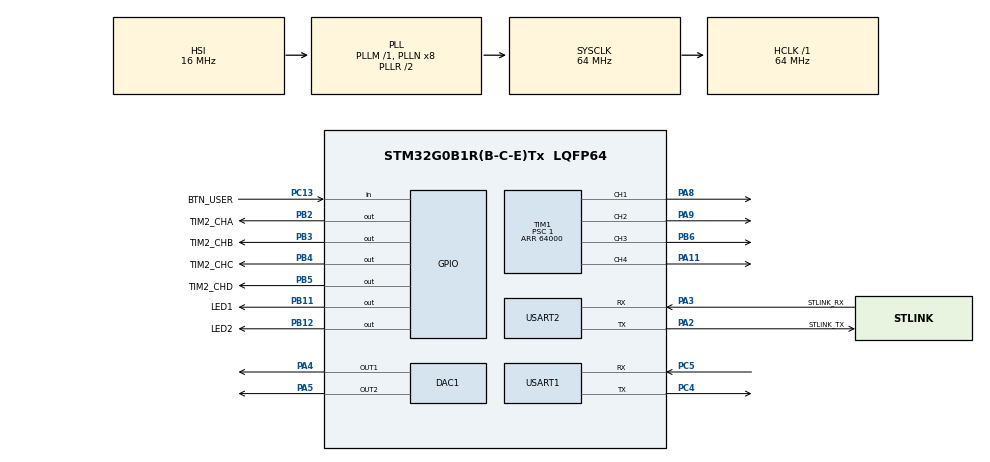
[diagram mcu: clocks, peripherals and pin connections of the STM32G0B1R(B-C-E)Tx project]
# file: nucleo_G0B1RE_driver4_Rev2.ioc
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DAC1.DAC_Channel-DAC_OUT1=DAC_CHANNEL_1
DAC1.DAC_Channel-DAC_OUT2=DAC_CHANNEL_2
Mcu.Family=STM32G0
Mcu.Name=STM32G0B1R(B-C-E)Tx
Mcu.Package=LQFP64
NVIC.TIM1_CC_IRQn=true\:0\:0\:false\:false\:true\:true\:false\:true
NVIC.TIM2_IRQn=true\:0\:0\:false\:false\:true\:true\:false\:true
PA11\ [PA9].Signal=S_TIM1_CH4
PA13.GPIO_Label=TMS
PA13.Mode=Serial_Wire
PA13.Signal=SYS_SWDIO
PA14-BOOT0.GPIO_Label=TCK
PA14-BOOT0.Mode=Serial_Wire
PA14-BOOT0.Signal=SYS_SWCLK
PA2.GPIO_Label=STLINK_TX
PA2.Mode=Asynchronous
PA2.Signal=USART2_TX
PA3.GPIO_Label=STLINK_RX
PA3.Mode=Asynchronous
PA3.Signal=USART2_RX
PA4.Signal=COMP_DAC11_group
PA5.Signal=COMP_DAC12_group
PA8.Signal=S_TIM1_CH1
PA9.Signal=S_TIM1_CH2
PB11.GPIO_Label=LED1
PB11.Signal=GPIO_Output
PB12.GPIO_Label=LED2
PB12.Signal=GPIO_Output
PB2.GPIO_Label=TIM2_CHA
PB2.Signal=GPIO_Output
PB3.GPIO_Label=TIM2_CHB
PB3.Signal=GPIO_Output
PB4.GPIO_Label=TIM2_CHC
PB4.Signal=GPIO_Output
PB5.GPIO_Label=TIM2_CHD
PB5.Signal=GPIO_Output
PB6.Signal=S_TIM1_CH3
PC13.GPIO_Label=BTN_USER
PC13.Signal=GPIO_Input
PC14-OSC32_IN\ (PC14).Mode=LSE-External-Oscillator
PC14-OSC32_IN\ (PC14).Signal=RCC_OSC32_IN
PC15-OSC32_OUT\ (PC15).Mode=LSE-External-Oscillator
PC15-OSC32_OUT\ (PC15).Signal=RCC_OSC32_OUT
PC4.Mode=Asynchronous
PC4.Signal=USART1_TX
PC5.Mode=Asynchronous
PC5.Signal=USART1_RX
PF0-OSC_IN\ (PF0).GPIO_Label=MCO_IN
PF0-OSC_IN\ (PF0).Mode=HSE-External-Clock-Source
PF0-OSC_IN\ (PF0).Signal=RCC_OSC_IN
ProjectManager.HeapSize=0x200
ProjectManager.StackSize=0x400
ProjectManager.TargetToolchain=STM32CubeIDE
RCC.ADCFreq_Value=64000000
RCC.AHBFreq_Value=64000000
RCC.CortexFreq_Value=64000000
RCC.EXTERNAL_CLOCK_VALUE=12288000
RCC.HCLKFreq_Value=64000000
RCC.HSE_VALUE=8000000
RCC.HSI48_VALUE=48000000
RCC.HSI_VALUE=16000000
RCC.RCC_MCO2Div=RCC_MCO2DIV_64
RCC.SYSCLKFreq_VALUE=64000000
RCC.SYSCLKSource=RCC_SYSCLKSOURCE_PLLCLK
RCC.USBFreq_Value=48000000
RCC.VCOOutputFreq_Value=128000000
SH.COMP_DAC11_group.0=DAC1_OUT1,DAC_OUT1
SH.COMP_DAC12_group.0=DAC1_OUT2,DAC_OUT2
SH.S_TIM1_CH1.0=TIM1_CH1,Output Compare1 CH1
SH.S_TIM1_CH2.0=TIM1_CH2,Output Compare2 CH2
SH.S_TIM1_CH3.0=TIM1_CH3,Output Compare3 CH3
SH.S_TIM1_CH4.0=TIM1_CH4,Output Compare4 CH4
TIM1.Channel-Output\ Compare1\ CH1=TIM_CHANNEL_1
TIM1.Channel-Output\ Compare2\ CH2=TIM_CHANNEL_2
TIM1.Channel-Output\ Compare3\ CH3=TIM_CHANNEL_3
TIM1.Channel-Output\ Compare4\ CH4=TIM_CHANNEL_4
TIM1.OCMode_1=TIM_OCMODE_TOGGLE
TIM1.OCMode_2=TIM_OCMODE_TOGGLE
TIM1.OCMode_3=TIM_OCMODE_TOGGLE
TIM1.OCMode_4=TIM_OCMODE_TOGGLE
TIM1.OffStateIDLEMode=TIM_OSSI_ENABLE
TIM1.OffStateRunMode=TIM_OSSR_ENABLE
TIM1.Period=64000
TIM1.Prescaler=1
TIM1.Pulse-Output\ Compare1\ CH1=0
TIM1.Pulse-Output\ Compare2\ CH2=8000
TIM1.Pulse-Output\ Compare3\ CH3=16000
TIM1.Pulse-Output\ Compare4\ CH4=24000
TIM2.Period=64000
TIM2.Prescaler=1
USART1.VirtualMode-Asynchronous=VM_ASYNC
USART2.VirtualMode-Asynchronous=VM_ASYNC
VP_SYS_VS_DBSignals.Mode=DisableDeadBatterySignals
VP_TIM1_VS_ClockSourceINT.Mode=Internal
VP_TIM2_VS_ClockSourceINT.Mode=Internal
board=NUCLEO-G0B1RE

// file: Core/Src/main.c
/* USER CODE BEGIN Header */
/**
  ******************************************************************************
  * @file           : main.c
  * @brief          : Main program body
  ******************************************************************************
  * @attention
  *
  * Copyright (c) 2024 STMicroelectronics.
  * All rights reserved.
  *
  * This software is licensed under terms that can be found in the LICENSE file
  * in the root directory of this software component.
  * If no LICENSE file comes with this software, it is provided AS-IS.
  *
  ******************************************************************************
  */
/* USER CODE END Header */
#include "main.h"
#include "dac.h"
#include "tim.h"
#include "usart.h"
#include "gpio.h"

/* USER CODE BEGIN Includes */
#include <stdio.h>
#include "timer.h"

/* USER CODE END Includes */

/* USER CODE BEGIN PV */

volatile uint32_t polarity_fault = 0;
volatile uint32_t tim1_running = 0;

/* USER CODE END PV */

void SystemClock_Config(void);

int main(void)
{

  /* MCU Configuration--------------------------------------------------------*/

  /* Reset of all peripherals, Initializes the Flash interface and the Systick. */
  HAL_Init();

  /* Configure the system clock */
  SystemClock_Config();

  /* Initialize all configured peripherals */
  MX_GPIO_Init();
  MX_USART2_UART_Init();
  MX_TIM1_Init();
  MX_DAC1_Init();
  MX_TIM2_Init();
  MX_USART1_UART_Init();
  /* USER CODE BEGIN 2 */

  printf("\r\n\r\n** Booted **\r\n");
  printf("Build: " __DATE__ ", " __TIME__ "\r\n");

  /* Start TIM1 */
  printf("Starting TIM1\r\n");
  TIM1_Init();

  HAL_DAC_Start(&hdac1, DAC_CHANNEL_1);

  uint32_t dac = 0;
  HAL_DAC_SetValue(&hdac1, DAC_CHANNEL_1, DAC_ALIGN_12B_R, dac);

  // DAC Step Size = 200 mA per button push
  //      (200 mA * .501 ohms) / 3.3V * 4095 = 124 LSBs
  const uint32_t DAC1_step_size = 124;
  const uint32_t DAC1_max_value = (DAC1_step_size * 5);
  printf("DAC Step Size: %2ld\r\n", DAC1_step_size);
  printf("DAC Max Value: %2ld\r\n", DAC1_max_value);
  printf("\r\n");

  /* USER CODE END 2 */

  /* Infinite loop */
  /* USER CODE BEGIN WHILE */

  while (1)
  {
	  /* light LED if faulted */
	  if (polarity_fault)
	  {
		  HAL_GPIO_WritePin(LED1_GPIO_Port, LED1_Pin, GPIO_PIN_SET);
	  }

	  /* verify TIM1 is running */
	  tim1_running = 0;
	  HAL_Delay(3);
	  if (tim1_running == 0)
	  {
	      /* light LED if not running */
	      HAL_GPIO_WritePin(LED1_GPIO_Port, LED1_Pin, GPIO_PIN_SET);
	  }

	  /* if user button pressed */
	  uint32_t btn = HAL_GPIO_ReadPin(BTN_USER_GPIO_Port, BTN_USER_Pin);
	  if (btn == 0)
	  {
		  printf("button pressed\r\n");
		  dac = dac + DAC1_step_size;
		  if (dac > DAC1_max_value) dac = 0;
		  HAL_DAC_SetValue(&hdac1, DAC_CHANNEL_1, DAC_ALIGN_12B_R, dac);
		  printf("DAC value: %2ld\r\n", dac);
		  printf("\r\n");

          /* button switch debounce time */
		  HAL_Delay(50);
		  /* wait for button release */
		  while (btn == 0)
		  {
			  btn = HAL_GPIO_ReadPin(BTN_USER_GPIO_Port, BTN_USER_Pin);
		  }
	  }

    /* USER CODE END WHILE */

  }
}

void SystemClock_Config(void)
{
  RCC_OscInitTypeDef RCC_OscInitStruct = {0};
  RCC_ClkInitTypeDef RCC_ClkInitStruct = {0};

  /** Configure the main internal regulator output voltage
  */
  HAL_PWREx_ControlVoltageScaling(PWR_REGULATOR_VOLTAGE_SCALE1);

  /** Initializes the RCC Oscillators according to the specified parameters
  * in the RCC_OscInitTypeDef structure.
  */
  RCC_OscInitStruct.OscillatorType = RCC_OSCILLATORTYPE_HSI;
  RCC_OscInitStruct.HSIState = RCC_HSI_ON;
  RCC_OscInitStruct.HSIDiv = RCC_HSI_DIV1;
  RCC_OscInitStruct.HSICalibrationValue = RCC_HSICALIBRATION_DEFAULT;
  RCC_OscInitStruct.PLL.PLLState = RCC_PLL_ON;
  RCC_OscInitStruct.PLL.PLLSource = RCC_PLLSOURCE_HSI;
  RCC_OscInitStruct.PLL.PLLM = RCC_PLLM_DIV1;
  RCC_OscInitStruct.PLL.PLLN = 8;
  RCC_OscInitStruct.PLL.PLLP = RCC_PLLP_DIV2;
  RCC_OscInitStruct.PLL.PLLQ = RCC_PLLQ_DIV2;
  RCC_OscInitStruct.PLL.PLLR = RCC_PLLR_DIV2;
  if (HAL_RCC_OscConfig(&RCC_OscInitStruct) != HAL_OK)
  {
    Error_Handler();
  }

  /** Initializes the CPU, AHB and APB buses clocks
  */
  RCC_ClkInitStruct.ClockType = RCC_CLOCKTYPE_HCLK|RCC_CLOCKTYPE_SYSCLK
                              |RCC_CLOCKTYPE_PCLK1;
  RCC_ClkInitStruct.SYSCLKSource = RCC_SYSCLKSOURCE_PLLCLK;
  RCC_ClkInitStruct.AHBCLKDivider = RCC_SYSCLK_DIV1;
  RCC_ClkInitStruct.APB1CLKDivider = RCC_HCLK_DIV1;

  if (HAL_RCC_ClockConfig(&RCC_ClkInitStruct, FLASH_LATENCY_2) != HAL_OK)
  {
    Error_Handler();
  }
}

/* USER CODE BEGIN 4 */

#if 0
/**
 * Show peripheral registers
 * base: address of first register
 * len: length in bytes
 */
void show_regs(uint32_t base, uint32_t len)
{
	for (uint32_t reg = base; reg <= (base+len); reg+=4)
	{
		uint32_t val = *((uint32_t*)reg);
		printf("%08lX : %08lX\r\n", reg, val);
	}
}
#endif

/**
 * Override this from syscalls.c -- printf() goes to the UART2
 */
int _write(int file, char *ptr, int len)
{
    HAL_UART_Transmit(&huart2, (uint8_t *)ptr, (uint16_t)len, 1000);
    return len;
}

/* USER CODE END 4 */

void Error_Handler(void)
{
  __disable_irq();
  while (1)
  {
  }
}
